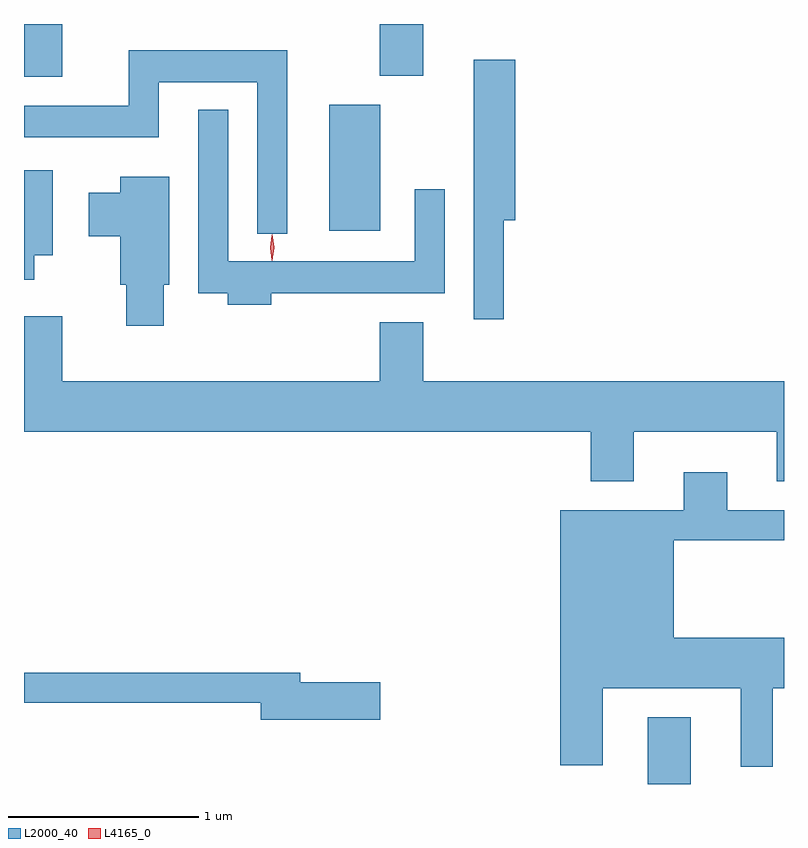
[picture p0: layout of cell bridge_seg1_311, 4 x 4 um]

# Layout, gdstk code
import gdstk
lib = gdstk.Library(unit=1e-6, precision=1e-09)
def R(c, l, rs):  # rectangles x0, y0, x1, y1
    for r in rs: c.add(gdstk.rectangle(r[:2], r[2:], *l))
def P(c, l, *ps):  # polygons
    for p in ps: c.add(gdstk.Polygon(p, *l))
L2000_40 = (2000, 40)
L4165_0 = (4165, 0)

bridge_seg1_311 = lib.new_cell('bridge_seg1_311')
R(bridge_seg1_311, L2000_40, [(850.001,879.963,850.229,880.314), (848.326,882.876,848.594,883.539), (846.719,883.686,846.919,883.963), (848.591,883.691,848.819,883.963)])
P(bridge_seg1_311, L2000_40, [(848.104,883.824),(847.271,883.824),(847.271,883.534),(846.719,883.534),(846.719,883.366),(847.429,883.366),(847.429,883.656),(847.946,883.656),(847.946,882.858),(848.104,882.858)],
  [(849.244,882.931),(849.304,882.931),(849.304,883.774),(849.086,883.774),(849.086,882.408),(849.244,882.408)],
  [(848.019,882.546),(848.934,882.546),(848.934,883.093),(848.776,883.093),(848.776,882.714),(847.794,882.714),(847.794,883.513),(847.636,883.513),(847.636,882.546),(847.791,882.546),(847.791,882.486),(848.019,882.486)],
  [(846.774,882.746),(846.869,882.746),(846.869,883.194),(846.719,883.194),(846.719,882.616),(846.774,882.616)],
  [(847.454,882.591),(847.484,882.591),(847.484,883.159),(847.226,883.159),(847.226,883.074),(847.061,883.074),(847.061,882.846),(847.226,882.846),(847.226,882.591),(847.256,882.591),(847.256,882.376),(847.454,882.376)],
  [(849.929,881.816),(850.681,881.816),(850.681,881.556),(850.719,881.556),(850.719,882.084),(848.819,882.084),(848.819,882.394),(848.591,882.394),(848.591,882.084),(846.919,882.084),(846.919,882.424),(846.719,882.424),(846.719,881.816),(849.701,881.816),(849.701,881.556),(849.929,881.556)],
  [(850.659,880.466),(850.719,880.466),(850.719,880.734),(850.139,880.734),(850.139,881.246),(850.719,881.246),(850.719,881.404),(850.419,881.404),(850.419,881.604),(850.191,881.604),(850.191,881.404),(849.541,881.404),(849.541,880.061),(849.764,880.061),(849.764,880.466),(850.491,880.466),(850.491,880.053),(850.659,880.053)],
  [(848.594,880.499),(848.174,880.499),(848.174,880.549),(846.719,880.549),(846.719,880.391),(847.966,880.391),(847.966,880.301),(848.594,880.301)])
P(bridge_seg1_311, L4165_0, [(848.025,882.719),(848.024,882.72),(848.015,882.786),(848.024,882.852),(848.025,882.853),(848.025,882.852),(848.035,882.786),(848.025,882.72)],
  [(848.025,882.717),(848.025,882.717),(848.015,882.787),(848.025,882.856),(848.025,882.856),(848.026,882.856),(848.035,882.787),(848.026,882.717)])

lib.write_gds('bridge_seg1_311.gds')
